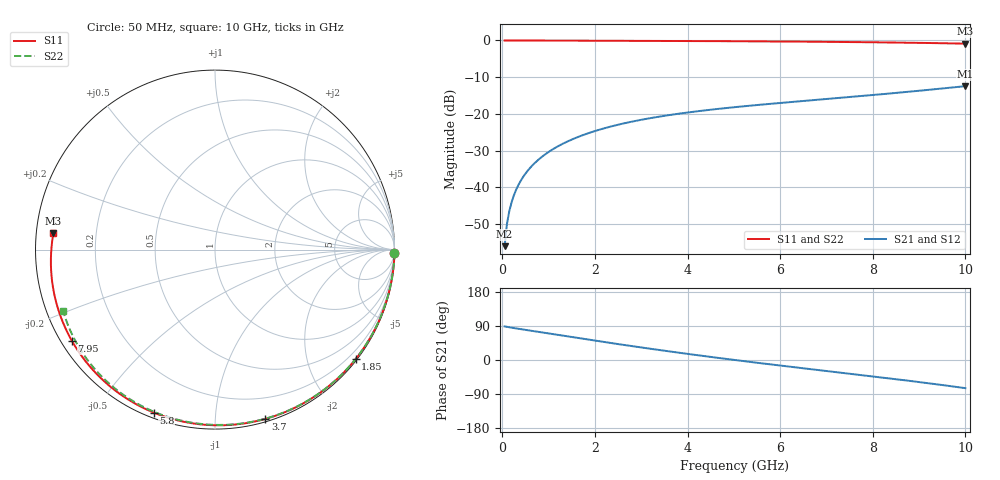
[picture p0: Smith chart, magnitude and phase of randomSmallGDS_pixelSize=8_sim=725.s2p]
! freq	dB(S11)	phase(S11)	dB(S12)	phase(S12)
!  dB(S21)	phase(S21)	dB(S22)	phase(S22)
!S-par simulation data
#  GHz  S  DB  R 50
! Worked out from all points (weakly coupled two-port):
!   200 points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, 50 MHz to 10 GHz, reference 50 ohm
!   highest |S21| = -12.46 dB at 10 GHz (marker M1); lowest = -56.1 dB at 50 MHz (marker M2)
!   lowest |S11| = -0.9 dB at 10 GHz (marker M3), VSWR 20.04, Z = 2.5 + j2.48 ohm
!   |S11| at or under -10 dB: nowhere
!   |S22| runs from -0.8 to 0.0 dB; largest |S21 - S12| = 0
!   S11 on the Smith chart (normalised r, x): 50 MHz: open; 1.85 GHz: 0.03, -2.91; 3.7 GHz: 0.02, -1.34; 5.8 GHz: 0.02, -0.69; 7.95 GHz: 0.03, -0.29; 10 GHz: 0.05, +0.05
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0.05  -0.00 -1.0  -56.08 88.7  -56.08 88.7  -0.00 -0.9
0.1  -0.00 -2.1  -50.09 87.4  -50.09 87.4  -0.00 -1.9
0.15  -0.00 -3.1  -46.60 86.3  -46.60 86.3  -0.00 -2.8
0.2  -0.00 -4.2  -44.14 85.3  -44.14 85.3  -0.00 -3.7
0.35  -0.01 -7.3  -39.35 82.3  -39.35 82.3  -0.01 -6.5
0.5  -0.01 -10.4  -36.30 79.5  -36.30 79.5  -0.01 -9.3
0.7  -0.02 -14.6  -33.43 75.7  -33.43 75.7  -0.02 -13.0
1  -0.03 -20.7  -30.40 70.0  -30.40 70.0  -0.03 -18.6
1.35  -0.04 -27.9  -27.88 63.3  -27.88 63.3  -0.04 -24.9
1.75  -0.06 -35.9  -25.76 55.8  -25.76 55.8  -0.05 -32.1
1.85  -0.06 -37.9  -25.32 53.9  -25.32 53.9  -0.06 -33.9
2.65  -0.09 -53.6  -22.53 39.3  -22.53 39.3  -0.08 -48.0
3.4  -0.12 -67.9  -20.74 26.2  -20.74 26.2  -0.12 -60.7
3.7  -0.14 -73.5  -20.16 21.1  -20.16 21.1  -0.13 -65.7
4.35  -0.17 -85.3  -19.10 10.5  -19.10 10.5  -0.16 -76.2
5.05  -0.21 -97.7  -18.14 -0.5  -18.14 -0.5  -0.20 -87.2
5.8  -0.26 -110.6  -17.26 -11.7  -17.26 -11.7  -0.24 -98.5
6.7  -0.34 -126.0  -16.29 -24.7  -16.29 -24.7  -0.31 -111.6
7.95  -0.49 -147.4  -14.93 -42.6  -14.93 -42.6  -0.44 -129.2
8.35  -0.54 -154.4  -14.48 -48.4  -14.48 -48.4  -0.50 -134.8
9.2  -0.69 -170.0  -13.47 -61.3  -13.47 -61.3  -0.63 -146.6
10  -0.87 174.3  -12.46 -74.3  -12.46 -74.3  -0.80 -157.9
